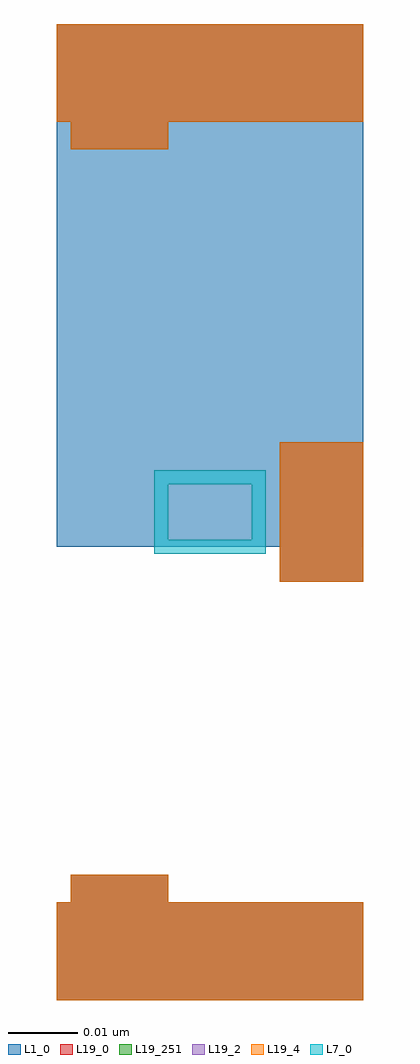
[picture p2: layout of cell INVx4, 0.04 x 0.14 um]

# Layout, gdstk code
import gdstk
lib = gdstk.Library(unit=1e-6, precision=1e-09)
def R(c, l, rs):  # rectangles x0, y0, x1, y1
    for r in rs: c.add(gdstk.rectangle(r[:2], r[2:], *l))
L1_0 = (1, 0)
L7_0 = (7, 0)
L19_0 = (19, 0)
L19_2 = (19, 2)
L19_4 = (19, 4)
L19_251 = (19, 251)

invx4 = lib.new_cell('INVx4')
R(invx4, L1_0, [(0,0.065,0.044,0.14)])
R(invx4, L7_0, [(0.014,0.064,0.03,0.066), (0.014,0.066,0.016,0.074), (0.028,0.066,0.03,0.074), (0.014,0.074,0.03,0.076)])
R(invx4, L19_0, [(0,0,0.044,0.014), (0.002,0.014,0.016,0.018), (0.032,0.06,0.044,0.08), (0.002,0.122,0.016,0.126), (0,0.126,0.044,0.14)])
R(invx4, L19_2, [(0,0,0.044,0.014), (0.002,0.014,0.016,0.018), (0.032,0.06,0.044,0.08), (0.002,0.122,0.016,0.126), (0,0.126,0.044,0.14)])
R(invx4, L19_4, [(0,0,0.044,0.014), (0.002,0.014,0.016,0.018), (0.032,0.06,0.044,0.08), (0.002,0.122,0.016,0.126), (0,0.126,0.044,0.14)])
R(invx4, L19_251, [(0,0,0.044,0.014), (0.002,0.014,0.016,0.018), (0.032,0.06,0.044,0.08), (0.002,0.122,0.016,0.126), (0,0.126,0.044,0.14)])

lib.write_gds('INVx4.gds')
